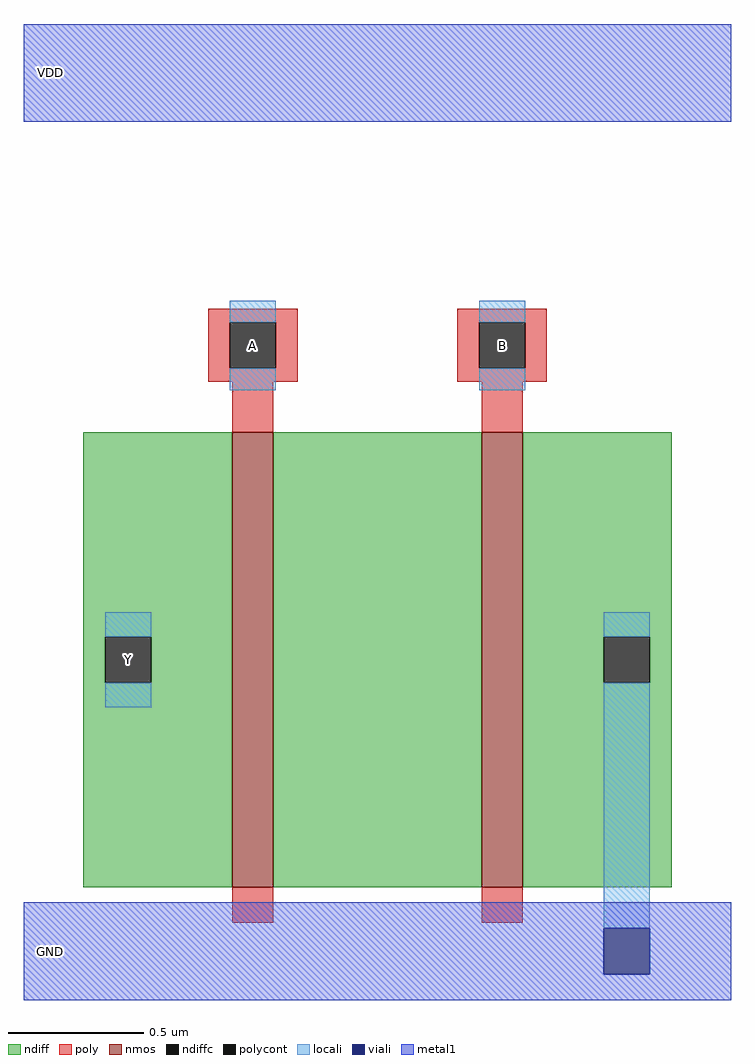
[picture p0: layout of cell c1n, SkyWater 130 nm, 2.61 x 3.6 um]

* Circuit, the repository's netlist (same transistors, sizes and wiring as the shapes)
* NGSPICE file created from c1n.ext - technology: sky130A

.subckt c1n A B Y VDD GND
X0 GND B a_184_47# VSUBS sky130_fd_pr__nfet_01v8 ad=0.924 pd=4.46 as=0.6468 ps=2.45 w=1.68 l=0.15
X1 a_184_47# A Y VSUBS sky130_fd_pr__nfet_01v8 ad=0.6468 pd=2.45 as=0.924 ps=4.46 w=1.68 l=0.15
.ends

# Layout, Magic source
magic
tech sky130A
magscale 1 2
<< nmos >>
rect 154 47 184 383
rect 338 47 368 383
<< ndiff >>
rect 44 232 154 383
rect 44 198 60 232
rect 94 198 154 232
rect 44 47 154 198
rect 184 47 338 383
rect 368 232 478 383
rect 368 198 428 232
rect 462 198 478 232
rect 368 47 478 198
<< ndiffc >>
rect 60 198 94 232
rect 428 198 462 232
<< poly >>
rect 136 464 202 474
rect 136 430 152 464
rect 186 430 202 464
rect 136 420 202 430
rect 320 464 386 474
rect 320 430 336 464
rect 370 430 386 464
rect 320 420 386 430
rect 154 383 184 420
rect 338 383 368 420
rect 154 21 184 47
rect 338 21 368 47
<< polycont >>
rect 152 430 186 464
rect 336 430 370 464
<< locali >>
rect 152 464 186 480
rect 152 414 186 430
rect 336 464 370 480
rect 336 414 370 430
rect 60 232 94 250
rect 60 180 94 198
rect 428 232 462 250
rect 428 17 462 198
<< viali >>
rect 428 -17 462 17
<< metal1 >>
rect 0 612 522 684
rect 0 17 522 36
rect 0 -17 428 17
rect 462 -17 522 17
rect 0 -36 522 -17
<< labels >>
rlabel polycont 169 447 169 447 0 A
port 1 nsew
rlabel polycont 353 447 353 447 0 B
port 2 nsew
rlabel ndiffc 77 215 77 215 0 Y
port 3 nsew
rlabel metal1 20 648 20 648 0 VDD
port 4 nsew
rlabel metal1 20 0 20 0 0 GND
port 5 nsew
<< end >>
